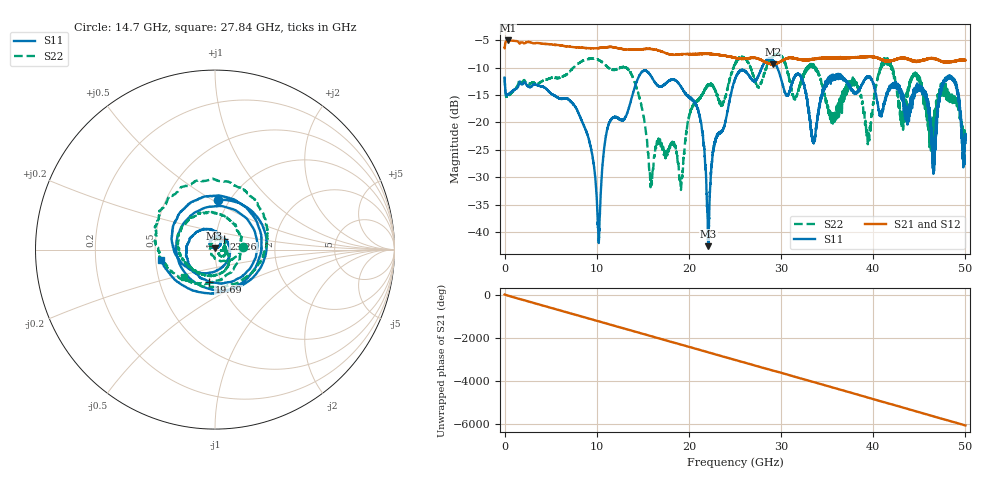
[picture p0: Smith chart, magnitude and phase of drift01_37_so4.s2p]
!Created with skrf (http://scikit-rf.org).
# Hz S RI R 50.0
!freq ReS11 ImS11 ReS21 ImS21 ReS12 ImS12 ReS22 ImS22
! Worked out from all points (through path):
!   10001 points, 300 kHz to 50 GHz, reference 50 ohm
!   highest |S21| = -5.05 dB at 360.3 MHz (marker M1); lowest = -9.4 dB at 29.12 GHz (marker M2)
!   group delay of S21, straight-line fit = 336 ps
!   lowest |S11| = -42.6 dB at 22.12 GHz (marker M3), VSWR 1.01, Z = 49.7 + j0.692 ohm
!   |S11| at or under -10 dB: start of sweep to 27.91 GHz; 29.59 GHz to end of sweep
!   |S22| runs from -32.3 to -7.5 dB; largest |S21 - S12| = 0.012
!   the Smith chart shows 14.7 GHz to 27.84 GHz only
!   S11 on the Smith chart (normalised r, x): 14.7 GHz: 0.88, +0.52; 19.69 GHz: 0.88, -0.32; 23.26 GHz: 1.10, +0.13; 27.84 GHz: 0.54, -0.07
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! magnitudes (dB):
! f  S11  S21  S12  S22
! 300 kHz  -11.8  -6.4  -6.5  -11.7
! 360.3 MHz  -14.9  -5.1  -5.1  -15.2
! 8.335 GHz  -19.5  -6.4  -6.4  -8.9
! 10.21 GHz  -41.8  -6.4  -6.4  -8.6
! 11.24 GHz  -20.6  -6.2  -6.2  -9.9
! 14.7 GHz  -11.2  -6.7  -6.7  -16.0
! 15.88 GHz  -11.5  -6.6  -6.6  -31.0
! 16.67 GHz  -13.4  -6.9  -6.9  -23.2
! 19.69 GHz  -14.8  -7.5  -7.5  -22.1
! 21.23 GHz  -19.5  -7.5  -7.5  -15.5
! 22.12 GHz  -42.6  -7.5  -7.5  -13.3
! 23.26 GHz  -22.1  -7.7  -7.7  -15.7
! 25 GHz  -12.1  -8.2  -8.3  -9.5
! 27.84 GHz  -10.3  -8.6  -8.6  -12.8
! 29.12 GHz  -8.7  -9.4  -9.4  -7.9
! 33.34 GHz  -22.7  -8.5  -8.5  -9.5
! 39.47 GHz  -11.6  -8.1  -8.0  -22.4
! 41.67 GHz  -13.9  -8.8  -8.8  -8.9
! 45.47 GHz  -14.1  -8.5  -8.6  -15.8
! 46.56 GHz  -24.8  -8.3  -8.2  -21.7
! 48.56 GHz  -12.0  -8.9  -8.9  -15.7
! 50 GHz  -23.1  -8.7  -8.7  -22.9
